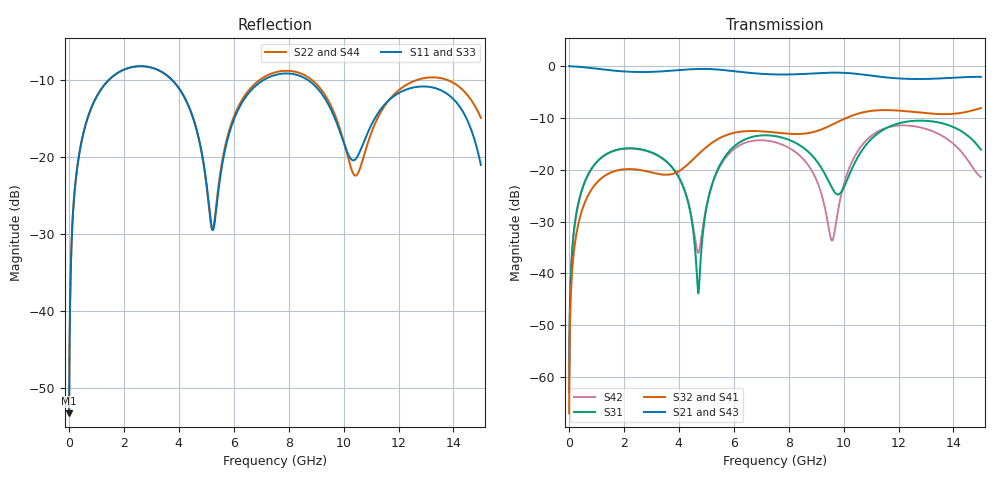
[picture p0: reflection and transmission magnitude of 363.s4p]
! Created with skrf 1.8.0 (http://scikit-rf.org).
# GHz S RI R 50.0
!freq ReS11 ImS11 ReS12 ImS12 ReS13 ImS13
! ReS14 ImS14
! ReS21 ImS21 ReS22 ImS22 ReS23 ImS23
! ReS24 ImS24
! ReS31 ImS31 ReS32 ImS32 ReS33 ImS33
! ReS34 ImS34
! ReS41 ImS41 ReS42 ImS42 ReS43 ImS43
! ReS44 ImS44
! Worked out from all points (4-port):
!   2499 points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, 5 MHz to 15 GHz, reference 50 ohm
!   strongest paths, dB at 5 MHz, 3.476 GHz, 7.19 GHz, 11.1 GHz, 15 GHz:
!     S21: 0.0, -1.0, -1.5, -1.9, -2.1
!     S43: 0.0, -1.0, -1.5, -1.9, -2.1
!     S32: -67.0, -20.9, -12.7, -8.6, -8.1
!     S41: -67.0, -21.1, -12.8, -8.6, -8.2
!     S31: -62.9, -18.1, -13.3, -13.6, -16.1
!     S42: -62.9, -18.1, -14.4, -13.1, -21.4
!   lowest |S11| = -53.3 dB at 5 MHz (marker M1), VSWR 1.00, Z = 50.2 + j0.13 ohm
!   |S11| at or under -10 dB: start of sweep to 1.437 GHz; 3.768 GHz to 7.066 GHz (3.298 GHz wide, 60.9 % of centre); 8.72 GHz to end of sweep
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0.005  0.00171 0.0013  0.9983 -0.00334  8.74e-05 0.00071  -8.47e-05 -0.00044
       0.9983 -0.00334  0.00171 0.0013  -8.47e-05 -0.00044  8.74e-05 0.00071
       8.74e-05 0.00071  -8.47e-05 -0.00044  0.00171 0.0013  0.9983 -0.00334
       -8.47e-05 -0.00044  8.74e-05 0.00071  0.9983 -0.00334  0.00171 0.0013
0.3126303  0.0259 0.0851  0.9645 -0.2072  0.0125 0.0419  -0.0103 -0.0256
           0.9645 -0.2072  0.026 0.0851  -0.0103 -0.0256  0.0123 0.0419
           0.0125 0.0419  -0.0103 -0.0256  0.0259 0.0851  0.9645 -0.2072
           -0.0103 -0.0256  0.0123 0.0419  0.9645 -0.2072  0.026 0.0851
1.519383  0.2763 0.1742  0.5336 -0.7379  0.1358 0.0607  -0.0937 -0.00366
          0.5336 -0.7379  0.2768 0.1739  -0.0939 -0.00335  0.134 0.0631
          0.1358 0.0607  -0.0939 -0.00335  0.2761 0.1743  0.5336 -0.7379
          -0.0937 -0.00366  0.134 0.0631  0.5336 -0.7379  0.2769 0.1737
4.708212  0.0692 -0.1185  -0.8629 -0.3674  -0.00632 -0.00113  -0.0533 0.1304
          -0.8629 -0.3674  0.0684 -0.1175  -0.0494 0.132  -0.0153 -0.00368
          -0.00632 -0.00113  -0.0494 0.132  0.07 -0.1181  -0.863 -0.3673
          -0.0533 0.1304  -0.0153 -0.00368  -0.863 -0.3673  0.0675 -0.1178
8.109629  0.3478 -0.0289  -0.00493 0.8316  0.1523 -0.1131  0.2099 -0.0596
          -0.00493 0.8316  0.3605 -0.0456  0.21 -0.0705  0.148 -0.0525
          0.1523 -0.1131  0.21 -0.0705  0.3469 -0.0256  -0.00472 0.8312
          0.2099 -0.0596  0.148 -0.0525  -0.00472 0.8312  0.3632 -0.0484
10.792  0.1221 0.0515  0.8219 -0.0324  0.0506 0.1628  -0.0298 -0.3603
        0.8219 -0.0324  0.0984 0.0485  -0.0488 -0.3586  0.0512 0.1811
        0.0506 0.1628  -0.0488 -0.3586  0.1236 0.0472  0.8218 -0.0326
        -0.0298 -0.3603  0.0512 0.1811  0.8218 -0.0326  0.0972 0.0519
15  0.0747 -0.0484  -0.5834 -0.5292  -0.052 -0.1473  -0.2617 0.2904
    -0.5834 -0.5292  0.1116 -0.1416  -0.233 0.3176  0.0853 0.00521
    -0.052 -0.1473  -0.233 0.3176  0.0938 -0.0376  -0.5814 -0.5292
    -0.2617 0.2904  0.0853 0.00521  -0.5814 -0.5292  0.1096 -0.1567
